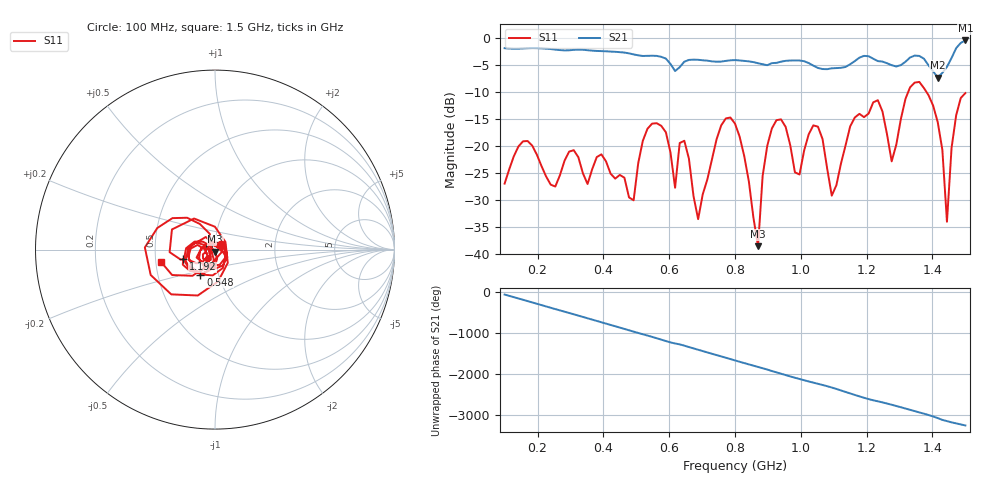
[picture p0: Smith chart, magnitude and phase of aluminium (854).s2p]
! NanoVNA-App
! Date: 2025-09-25 15:01:56
! Start: 100MHz Stop: 1,5GHz Points: 101
! S-Parameter data: F S11 S21 S12 S22
# Hz S RI R 50
!  Frequency  S11_Real  S11_Imag  S21_Real  S21_Imag  S12_Real  S12_Imag  S22_Real  S22_Imag
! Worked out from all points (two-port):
!   101 points, 100 MHz to 1.5 GHz, reference 50 ohm
!   highest |S21| = -0.49 dB at 1.5 GHz (marker M1); lowest = -7.3 dB at 1.416 GHz (marker M2)
!   |S21| within 3 dB of the highest: start of sweep to 573.8 MHz; 1.46 GHz to end of sweep (the widest 2 of 4)
!   lowest |S11| = -38.5 dB at 870 MHz (marker M3), VSWR 1.02, Z = 50.1 - j1.18 ohm
!   |S11| at or under -10 dB: start of sweep to 1.326 GHz; 1.382 GHz to end of sweep
!   S12 and S22 are empty: the file has one direction only
!   S11 on the Smith chart (normalised r, x): 100 MHz: 1.07, +0.06; 548 MHz: 0.82, -0.23; 1.192 GHz: 0.70, -0.08; 1.5 GHz: 0.53, -0.08
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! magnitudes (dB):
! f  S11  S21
! 100 MHz  -27.0  -1.9
! 156 MHz  -19.1  -2.0
! 338 MHz  -25.1  -2.2
! 492 MHz  -30.0  -3.1
! 548 MHz  -15.9  -3.3
! 576 MHz  -16.3  -3.5
! 618 MHz  -27.7  -6.1
! 646 MHz  -19.0  -4.4
! 688 MHz  -33.5  -4.1
! 800 MHz  -15.9  -4.1
! 870 MHz  -38.5  -4.7
! 912 MHz  -16.8  -4.7
! 996 MHz  -25.3  -4.2
! 1.038 GHz  -16.2  -5.1
! 1.094 GHz  -29.2  -5.6
! 1.192 GHz  -14.7  -3.3
! 1.276 GHz  -22.8  -5.1
! 1.346 GHz  -8.3  -3.3
! 1.416 GHz  -15.6  -7.3
! 1.444 GHz  -34.0  -5.4
! 1.472 GHz  -14.3  -1.9
! 1.5 GHz  -10.2  -0.5
